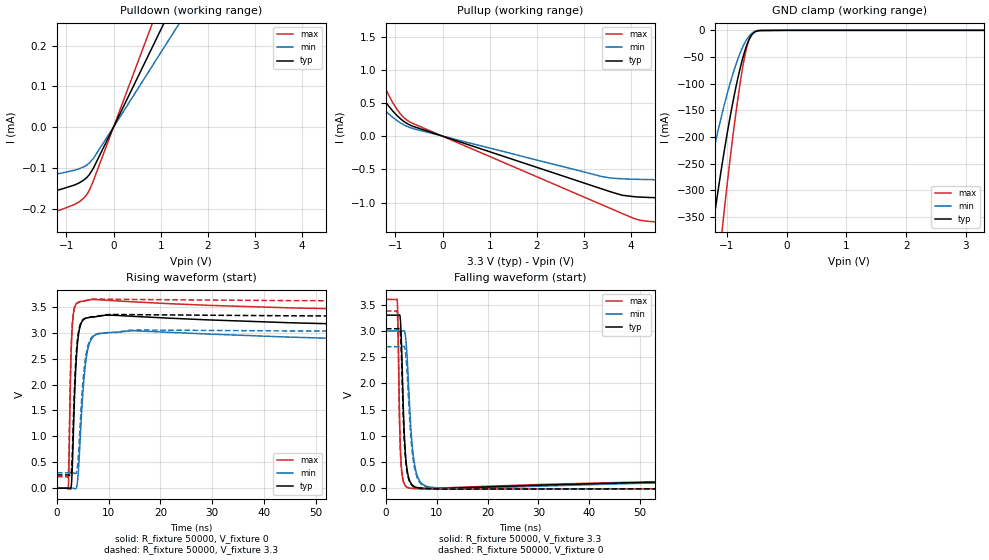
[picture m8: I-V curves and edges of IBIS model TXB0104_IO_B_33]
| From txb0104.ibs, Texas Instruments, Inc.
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[Model]   TXB0104_IO_B_33
Model_type  I/O
Vinl=1.05
Vinh=2.34
Enable   Active-High
Vref =   0
Rref =   1e6
Cref =   15p
Vmeas =   1.65
| variable   typ   min   max
C_comp   13.90pF   11.82pF   15.62pF
| C_pullup   13.81pF   11.79pF   15.76pF
| C_pulldown   21.52pF   11.45pF   39.52pF
| C_tri-state   13.90pF   11.82pF   15.62pF
[Temperature Range]   40   100   -40
| Ambient temperature   25   85   -40
[Voltage range]   3.3   3   3.6
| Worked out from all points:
|   slope of the pulldown table from 0 to 0.495 V, typ, clamps not added: 4.2 kohm
|   slope of the pullup table from 0 to 0.495 V, typ, clamps not added: 4.25 kohm
|   GND clamp passes 1 mA (typ) near -0.48 V on its own axis
|   rising waveform, R_fixture 50000, V_fixture 0: 20-80 % time 669ps typ, 998ps min, 409ps max; typ from 0 V to 3.05 V
|   falling waveform, R_fixture 50000, V_fixture 3.3: 20-80 % time 628ps typ, 980ps min, 386ps max; typ from 3.3 V to 0.246 V
|   rising waveform, R_fixture 50000, V_fixture 3.3: 20-80 % time 770ps typ, 1.18ns min, 459ps max; typ from 0.256 V to 3.3 V
|   falling waveform, R_fixture 50000, V_fixture 0: 20-80 % time 738ps typ, 1.18ns min, 434ps max; typ from 3.04 V to 0 V
[GND Clamp]
| TXB0104_IO_B_33
|   Voltage   I(typ)   I(min)   I(max)
-5.5V     -5.138A    -3.901A    -6.439A
-1.49V    -586.4mA   -378.2mA   -853.1mA
-1.44V    -541.6mA   -347.7mA   -791.1mA
-1.245V   -376.5mA   -237.5mA   -558.3mA
-1.22V    -356.6mA   -224.4mA   -529.6mA
-1.085V   -255.2mA   -158.5mA   -381mA
-1.065V   -241mA     -149.4mA   -360mA
-890mV    -129.5mA   -78.64mA   -190.6mA
-740mV    -54.71mA   -32.62mA   -72.62mA
-640mV    -20.32mA   -12.58mA   -21.08mA
-545mV    -4.204mA   -3.114mA   -2.676mA
3.3V      891.3pA    4.328nA    103.8pA
[Pulldown]
| TXB0104_IO_B_33
|   Voltage   I(typ)   I(min)   I(max)
-5.5V     -213uA     -161uA     -279uA
-3.115V   -186uA     -140uA     -247uA
-2.585V   -179uA     -134uA     -239uA
-1.64V    -164.4uA   -122.2uA   -219uA
-1.125V   -152.7uA   -113.2uA   -202.8uA
-825mV    -141.8uA   -105.5uA   -189.5uA
-635mV    -130.1uA   -97.48uA   -174.6uA
-570mV    -123.9uA   -93.19uA   -165.9uA
-515mV    -116.8uA   -88.24uA   -155.4uA
-430mV    -101.3uA   -77.17uA   -132.5uA
0V        0A         0A         0A
11V       2.618mA    2.005mA    3.396mA
[Pullup]
| TXB0104_IO_B_33
|   Voltage   I(typ)   I(min)   I(max)
-5.5V     3.568mA    1.757mA    6.305mA
-2.22V    2.391mA    1.681mA    3.337mA
-2.01V    1.736mA    1.251mA    2.479mA
-1.95V    1.592mA    1.149mA    2.297mA
-1.705V   1.139mA    818.9uA    1.675mA
-1.225V   535uA      392.4uA    743.4uA
-965mV    311.4uA    235.2uA    403.8uA
-765mV    196.9uA    152uA      247.2uA
3.39V     -796.7uA   -609.3uA   -1.036mA
4.185V    -916.9uA   -650.6uA   -1.266mA
5.975V    -947uA     -669uA     -1.327mA
11V       -978uA     -690uA     -1.373mA
[Ramp]
| TXB0104_IO_B_33
| variable   typ   min   max
dV/dt_r   2.01/8.09E-10   1.83/1.24E-09   2.20/4.84E-10
dV/dt_f   1.99/7.51E-10   1.81/1.20E-09   2.17/4.47E-10
R_load = 50000
[Rising Waveform]
| TXB0104_IO_B_33
R_fixture =   50000
C_fixture =   0
L_fixture =   0
V_fixture =   0
V_fixture_min = 0
V_fixture_max = 0
|   Time   V(typ)   V(min)   V(max)
0s        144.2nV    1.32uV     44.14nV
2.175ns   144.8uV    4.908uV    918.9uV
2.32ns    1.042mV    3.307uV    383.8mV
2.655ns   -14.3mV    -126.3uV   2.252V
2.88ns    189.1mV    418.5uV    2.944V
3.46ns    1.908V     -12.26mV   3.498V
3.84ns    2.635V     35.98mV    3.567V
5.29ns    3.264V     2.181V     3.614V
6.43ns    3.299V     2.832V     3.638V
220ns     3.046V     2.715V     3.38V
[Falling Waveform]
| TXB0104_IO_B_33
R_fixture =   50000
C_fixture =   0
L_fixture =   0
V_fixture =   3.3
V_fixture_min = 3
V_fixture_max = 3.6
|   Time   V(typ)   V(min)   V(max)
0s        3.3V       3V         3.6V
2.225ns   3.3V       3V         3.585V
2.375ns   3.299V     3V         3.157V
2.78ns    3.279V     3V         980.3mV
3.135ns   2.527V     2.999V     318.4mV
3.8ns     720mV      2.93V      56.89mV
5.025ns   84.53mV    992.8mV    3.342mV
6.67ns    9.417mV    136.8mV    -4.612mV
11.8ns    -257.3uV   2.17mV     12.55mV
220ns     246.2mV    273mV      215.8mV
[Rising Waveform]
| TXB0104_IO_B_33
R_fixture =   50000
C_fixture =   0
L_fixture =   0
V_fixture =   3.3
V_fixture_min = 3
V_fixture_max = 3.6
|   Time   V(typ)   V(min)   V(max)
0s        255.5mV    296.2mV    218.9mV
2.18ns    255.7mV    296.2mV    224mV
2.31ns    256.7mV    296.2mV    561.7mV
2.74ns    272.3mV    296.1mV    2.685V
3.265ns   1.575V     292.8mV    3.434V
3.705ns   2.547V     291mV      3.558V
4.23ns    3.047V     757.1mV    3.59V
5.26ns    3.269V     2.299V     3.616V
6.49ns    3.304V     2.876V     3.645V
220ns     3.301V     3.002V     3.6V
[Falling Waveform]
| TXB0104_IO_B_33
R_fixture =   50000
C_fixture =   0
L_fixture =   0
V_fixture =   0
V_fixture_min = 0
V_fixture_max = 0
|   Time   V(typ)   V(min)   V(max)
0s        3.041V     2.7V       3.379V
2.225ns   3.041V     2.7V       3.365V
2.37ns    3.041V     2.7V       2.964V
2.775ns   3.024V     2.7V       891.2mV
3.13ns    2.298V     2.699V     291.7mV
3.775ns   669.6mV    2.646V     54.42mV
4.995ns   74.77mV    875.5mV    2.071mV
6.61ns    6.517mV    119.5mV    -6.845mV
11.47ns   -12.17mV   -84uV      -10.55mV
220ns     -493.7uV   -1.136mV   -175.5uV
